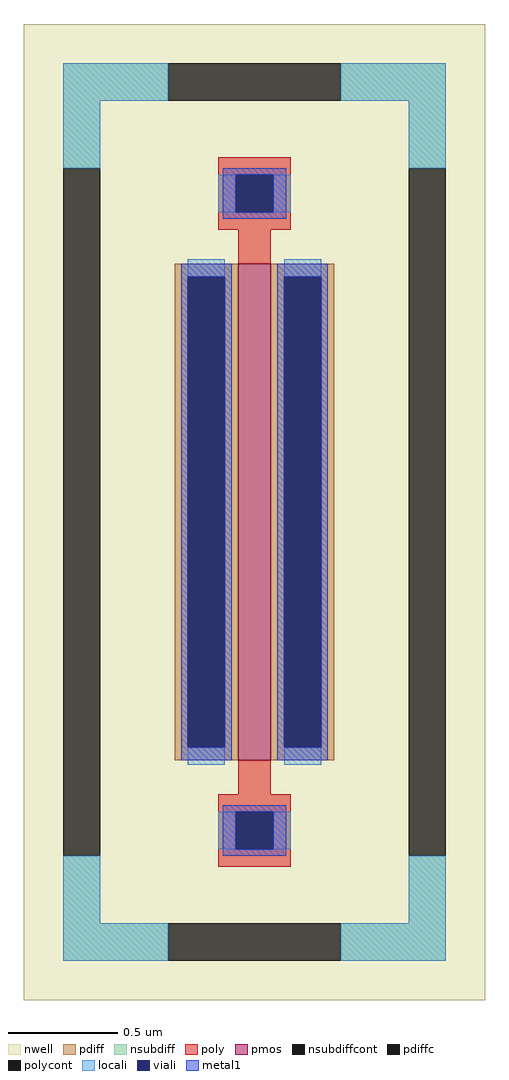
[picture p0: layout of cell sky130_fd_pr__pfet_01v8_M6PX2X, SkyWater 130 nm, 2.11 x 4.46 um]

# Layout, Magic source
magic
tech sky130A
magscale 1 2
<< nwell >>
rect -211 -446 211 446
<< pmos >>
rect -15 -227 15 227
<< pdiff >>
rect -73 215 -15 227
rect -73 -215 -61 215
rect -27 -215 -15 215
rect -73 -227 -15 -215
rect 15 215 73 227
rect 15 -215 27 215
rect 61 -215 73 215
rect 15 -227 73 -215
<< pdiffc >>
rect -61 -215 -27 215
rect 27 -215 61 215
<< nsubdiff >>
rect -175 376 -79 410
rect 79 376 175 410
rect -175 314 -141 376
rect 141 314 175 376
rect -175 -376 -141 -314
rect 141 -376 175 -314
rect -175 -410 -79 -376
rect 79 -410 175 -376
<< nsubdiffcont >>
rect -79 376 79 410
rect -175 -314 -141 314
rect 141 -314 175 314
rect -79 -410 79 -376
<< poly >>
rect -33 308 33 324
rect -33 274 -17 308
rect 17 274 33 308
rect -33 258 33 274
rect -15 227 15 258
rect -15 -258 15 -227
rect -33 -274 33 -258
rect -33 -308 -17 -274
rect 17 -308 33 -274
rect -33 -324 33 -308
<< polycont >>
rect -17 274 17 308
rect -17 -308 17 -274
<< locali >>
rect -175 376 -79 410
rect 79 376 175 410
rect -175 314 -141 376
rect 141 314 175 376
rect -33 274 -17 308
rect 17 274 33 308
rect -61 215 -27 231
rect -61 -231 -27 -215
rect 27 215 61 231
rect 27 -231 61 -215
rect -33 -308 -17 -274
rect 17 -308 33 -274
rect -175 -376 -141 -314
rect 141 -376 175 -314
rect -175 -410 -79 -376
rect 79 -410 175 -376
<< viali >>
rect -17 274 17 308
rect -61 -215 -27 215
rect 27 -215 61 215
rect -17 -308 17 -274
<< metal1 >>
rect -29 308 29 314
rect -29 274 -17 308
rect 17 274 29 308
rect -29 268 29 274
rect -67 215 -21 227
rect -67 -215 -61 215
rect -27 -215 -21 215
rect -67 -227 -21 -215
rect 21 215 67 227
rect 21 -215 27 215
rect 61 -215 67 215
rect 21 -227 67 -215
rect -29 -274 29 -268
rect -29 -308 -17 -274
rect 17 -308 29 -274
rect -29 -314 29 -308
<< properties >>
string FIXED_BBOX -158 -393 158 393
string gencell sky130_fd_pr__pfet_01v8
string library sky130
string parameters w 2.27 l 0.15 m 1 nf 1 diffcov 100 polycov 100 guard 1 glc 1 grc 1 gtc 1 gbc 1 tbcov 100 rlcov 100 topc 1 botc 1 poverlap 0 doverlap 1 lmin 0.15 wmin 0.42 compatible {sky130_fd_pr__pfet_01v8  sky130_fd_pr__pfet_01v8_lvt sky130_fd_pr__pfet_01v8_hvt  sky130_fd_pr__pfet_g5v0d10v5} full_metal 1 viasrc 100 viadrn 100 viagate 100 viagb 0 viagr 0 viagl 0 viagt 0
<< end >>
